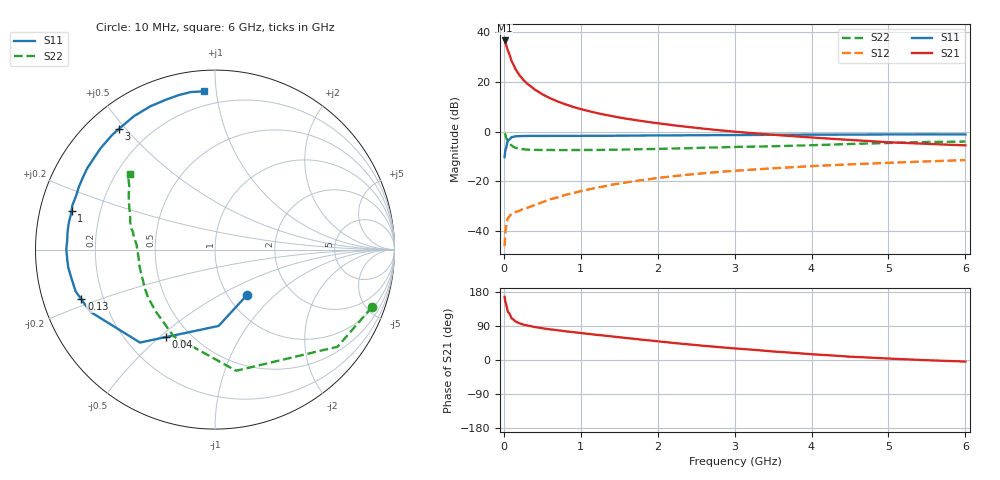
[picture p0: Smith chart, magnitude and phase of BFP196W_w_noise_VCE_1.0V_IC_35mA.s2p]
! Infineon Technologies  Discrete & RF Semiconductors
! BFP196W
! VCE =  1.0 V,  IC =  35 mA
! Common Emitter S-Parameters:  Jan 2017
# GHz  S  MA  R  50
!  f  S11  S21  S12  S22
! GHz  MAG  ANG  MAG  ANG  MAG  ANG  MAG  ANG
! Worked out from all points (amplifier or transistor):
!   77 points, 10 MHz to 6 GHz, reference 50 ohm
!   highest |S21| = 36.7 dB at 10 MHz (marker M1)
!   |S21| within 3 dB of that: start of sweep to 41.64 MHz
!   unconditionally stable (mu >= 1): 690.1 MHz to 3.93 GHz; 4.145 GHz to 4.437 GHz
!   at 130 MHz: K = 0.38, MSG = 29.6 dB, |S12| = -32.6 dB
!   at 2.2 GHz: K = 1.06, MAG = 8.8 dB, |S12| = -17.9 dB
!   at 6 GHz: K = 0.99, MSG = 3.0 dB, |S12| = -11.4 dB
!   lowest NFmin = 1.19 dB at 450 MHz
!   S11 on the Smith chart (normalised r, x): 10 MHz: 1.23, -0.68; 40 MHz: 0.37, -0.52; 130 MHz: 0.12, -0.18; 1 GHz: 0.10, +0.13; 3 GHz: 0.09, +0.48; 6 GHz: 0.12, +0.93
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0.01  0.3089 -54.2  68.72 166.8  0.005 74.9  0.9319 -20.0
0.02  0.4257 -87.3  63.25 153.6  0.01 71.7  0.8712 -38.4
0.04  0.5579 -119.2  49.52 138.7  0.0151 50.7  0.7008 -64.1
0.05  0.6656 -128.9  44.48 128.1  0.0181 45.0  0.6852 -80.1
0.1  0.7772 -153.6  26.47 110.1  0.0224 36.8  0.5346 -115.7
0.13  0.7945 -159.6  21.57 106.0  0.0235 35.3  0.4936 -126.2
0.15  0.8107 -163.4  18.39 102.0  0.0242 34.4  0.4767 -134.0
0.2  0.8163 -169.2  13.96 97.2  0.0256 36.7  0.4583 -144.5
0.25  0.8236 -173.0  11.26 93.6  0.0281 38.6  0.4464 -151.4
0.3  0.8248 -175.9  9.391 91.2  0.0293 41.0  0.4373 -156.3
0.4  0.8286 179.8  7.095 87.0  0.0335 46.6  0.4322 -162.6
0.5  0.8248 176.6  5.68 83.8  0.0383 49.4  0.4304 -166.8
0.6  0.8269 173.8  4.75 80.9  0.0437 52.2  0.4313 -169.9
0.8  0.828 169.2  3.568 75.8  0.0538 56.9  0.4279 -173.9
1  0.8278 164.8  2.867 71.2  0.064 57.9  0.4301 -177.3
1.1  0.8321 162.8  2.616 68.9  0.0692 58.2  0.4306 -178.5
2.1  0.8447 143.7  1.42 47.3  0.1226 53.7  0.4565 170.8
3  0.8597 128.7  1.004 30.5  0.1642 46.0  0.4955 162.4
3.1  0.8605 127.2  0.976 29.1  0.1681 45.1  0.4985 161.4
4.1  0.8757 113.1  0.751 14.0  0.2072 36.6  0.5426 151.9
5.1  0.8844 102.4  0.607 3.0  0.2406 28.5  0.6005 142.8
6  0.8836 94.0  0.533 -4.2  0.2694 21.7  0.6353 138.2
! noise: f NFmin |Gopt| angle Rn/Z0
0.45  1.19  0.46  180  0.06
0.9  1.33  0.53  -174  0.06
1.9  2.17  0.68  -151  0.13
2.4  2.57  0.73  -145  0.23
